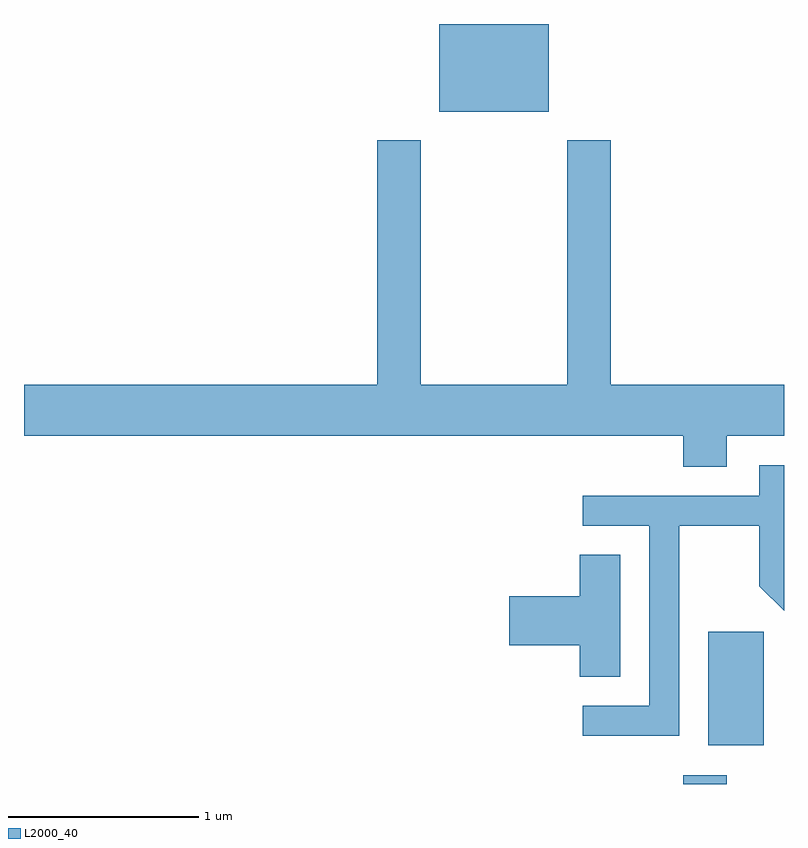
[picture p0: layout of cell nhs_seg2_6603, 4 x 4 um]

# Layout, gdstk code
import gdstk
lib = gdstk.Library(unit=1e-6, precision=1e-09)
def R(c, l, rs):  # rectangles x0, y0, x1, y1
    for r in rs: c.add(gdstk.rectangle(r[:2], r[2:], *l))
def P(c, l, *ps):  # polygons
    for p in ps: c.add(gdstk.Polygon(p, *l))
L2000_40 = (2000, 40)

nhs_seg2_6603 = lib.new_cell('nhs_seg2_6603')
R(nhs_seg2_6603, L2000_40, [(383.081,1059.802,383.309,1059.849), (383.211,1060.006,383.504,1060.604), (381.796,1063.341,382.374,1063.802)])
P(nhs_seg2_6603, L2000_40, [(383.309,1061.636),(383.611,1061.636),(383.611,1061.904),(382.699,1061.904),(382.699,1063.189),(382.471,1063.189),(382.471,1061.904),(381.699,1061.904),(381.699,1063.189),(381.471,1063.189),(381.471,1061.904),(379.611,1061.904),(379.611,1061.636),(383.081,1061.636),(383.081,1061.471),(383.309,1061.471)],
  [(383.059,1061.161),(383.481,1061.161),(383.481,1060.844),(383.611,1060.714),(383.611,1061.479),(383.481,1061.479),(383.481,1061.319),(382.553,1061.319),(382.553,1061.161),(382.901,1061.161),(382.901,1060.214),(382.553,1060.214),(382.553,1060.056),(383.059,1060.056)],
  [(382.749,1061.009),(382.536,1061.009),(382.536,1060.789),(382.166,1060.789),(382.166,1060.531),(382.536,1060.531),(382.536,1060.366),(382.749,1060.366)])

lib.write_gds('nhs_seg2_6603.gds')
